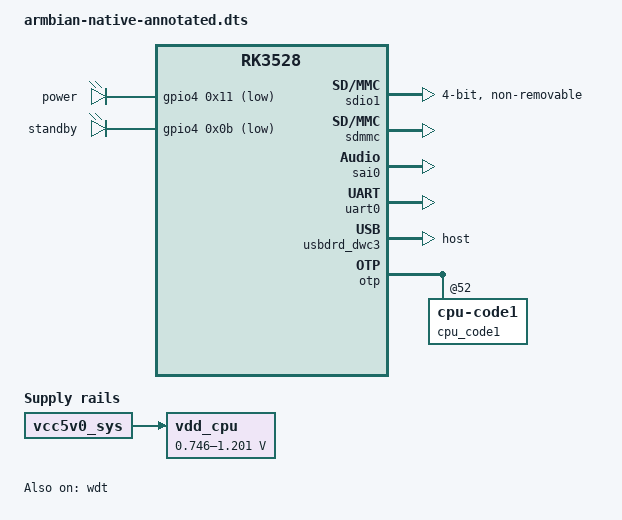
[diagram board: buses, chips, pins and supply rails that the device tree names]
// SPDX-License-Identifier: (GPL-2.0+ OR MIT)
/*
 * H96 Max ZX TV box (PCB silkscreen 3518_ZX_V01) — Rockchip RK3518, RK3528 family.
 *
 * The vendor derived this box from Rockchip's EVB1 DDR4 V10 reference design and its
 * compatible still says so, so this includes that board and overrides what differs.
 *
 * Checked against the box's own factory device tree, carved from its eMMC: this file
 * compiles to a tree content-identical to that blob plus the changes below.
 */
/dts-v1/;
#include "rk3528-evb1-ddr4-v10.dtsi"
#include "rk3528-linux.dtsi"

/* hardware the reference board has and this box does not */
/delete-node/ &chosen;
/delete-node/ &{/cpu0-opp-table/opp-1008000000};
/delete-node/ &{/cpu0-opp-table/opp-1608000000};
/delete-node/ &{/cpu0-opp-table/opp-1800000000};
/delete-node/ &{/cpu0-opp-table/opp-2016000000};
/delete-node/ &{/cpu0-opp-table/opp-408000000};
/delete-node/ &{/cpu0-opp-table/opp-600000000};
/delete-node/ &{/cpu0-opp-table/opp-816000000};
/delete-node/ &{/dmc-opp-table/opp-920000000};
/delete-node/ &gmac1;
/delete-node/ &{/gpu-opp-table/opp-300000000};
/delete-node/ &{/gpu-opp-table/opp-500000000};
/delete-node/ &{/gpu-opp-table/opp-600000000};
/delete-node/ &pcie2x1;
/delete-node/ &vdd_cpu;
/delete-node/ &vdd_gpu;
/delete-node/ &vdd_logic;

&{/} {
	compatible = "h96max-zx,rk3518-tvbox", "rockchip,rk3518-evb1-ddr4-v10", "rockchip,rk3518", "rockchip,rk3528a";
	model = "H96 Max 3518_ZX_V01 (Rockchip RK3518 EVB1 DDR4 V10 Board)";
};

&{/aliases} {
	/delete-property/ ethernet1;
};

&cpu0_opp_table {
	mbist-vmin = <0xc96a8 0xe1d48 0xe1d48>;
	rockchip,pvtm-voltage-sel = <0x00 0x58c 0x00 0x582 0x5a4 0x01 0x5a5 0x5c2 0x02 0x5c3 0x5e5 0x03 0x5e6 0x608 0x04 0x609 0x62b 0x05 0x62c 0x653 0x06 0x654 0x699 0x07 0x69a 0x6d0 0x08 0x6d1 0x707 0x09 0x708 0x270f 0x0a>;
	rockchip,pvtm-freq = <0x159b40>;
	rockchip,pvtm-volt = <0xe7ef0>;
	rockchip,video-1080p-freq = <0x124f80>;
};

&{/cpu0-opp-table/opp-1200000000} {
	/delete-property/ opp-microvolt-L0;
	/delete-property/ opp-microvolt-L1;
	/delete-property/ opp-microvolt-L2;
	/delete-property/ opp-microvolt-L3;
	/delete-property/ opp-microvolt-L4;
	/delete-property/ opp-microvolt-L5;
	/delete-property/ opp-microvolt-L6;
	opp-microvolt = <0xdbba0 0xdbba0 0xf4240>;
};

&{/cpu0-opp-table/opp-1416000000} {
	/delete-property/ opp-microvolt-L10;
	/delete-property/ opp-microvolt-L11;
	/delete-property/ opp-microvolt-L5;
	/delete-property/ opp-microvolt-L6;
	/delete-property/ opp-microvolt-L7;
	/delete-property/ opp-microvolt-L8;
	/delete-property/ opp-microvolt-L9;
	opp-microvolt = <0xdbba0 0xdbba0 0xf4240>;
	opp-microvolt-L1 = <0xe7ef0 0xe7ef0 0xf4240>;
	opp-microvolt-L2 = <0xe4e1c 0xe4e1c 0xf4240>;
	opp-microvolt-L3 = <0xe1d48 0xe1d48 0xf4240>;
	opp-microvolt-L4 = <0xdec74 0xdec74 0xf4240>;
	opp-microvolt-L0 = <0xeafc4 0xeafc4 0xf4240>;
};

&{/cpuinfo} {
	nvmem-cells = <&otp_id &otp_cpu_version &cpu_code &cpu_code1>;
	nvmem-cell-names = "id", "cpu-version", "cpu-code", "cpu-code1";
};

&route_hdmi {
	/delete-property/ logo,kernel;
	logo,mode = "fullscreen";
};

&route_tve {
	/delete-property/ logo,kernel;
	logo,mode = "fullscreen";
};

&dmc {
	center-supply = <&vdd_cpu>;
};

&{/dmc-opp-table/opp-1056000000} {
	/delete-property/ opp-microvolt-L0;
	/delete-property/ opp-microvolt-L1;
	/delete-property/ opp-microvolt-L2;
	/delete-property/ opp-microvolt-L3;
	/delete-property/ opp-microvolt-L4;
	opp-microvolt = <0xdbba0 0xdbba0 0xf4240>;
};

&gmac0 {
	snps,axi-config = <0x70>;
	snps,mtl-rx-config = <0x71>;
	snps,mtl-tx-config = <0x72>;
};

&{/fiq-debugger} {
	status = "disabled";
};

&gpu_bus {
	/delete-property/ bus-supply;
	status = "disabled";
};

&gpu_opp_table {
	rockchip,pvtm-voltage-sel = <0x00 0x329 0x00 0x32a 0x33e 0x01 0x33f 0x352 0x02 0x353 0x370 0x03 0x371 0x37a 0x04 0x37b 0x38e 0x05 0x38f 0x3a2 0x06 0x3a3 0x3b6 0x07 0x3b7 0x3ca 0x08 0x3cb 0x3e3 0x09 0x3e8 0x270f 0x0a>;
	rockchip,pvtm-volt = <0xe7ef0>;
};

&{/gpu-opp-table/opp-700000000} {
	/delete-property/ clock-latency-ns;
	/delete-property/ opp-microvolt-L1;
	/delete-property/ opp-microvolt-L2;
	/delete-property/ opp-microvolt-L3;
	/delete-property/ opp-microvolt-L4;
	/delete-property/ opp-microvolt-L5;
	/delete-property/ opp-microvolt-L6;
	/delete-property/ opp-microvolt-L7;
	/delete-property/ opp-microvolt-L8;
};

&{/gpu-opp-table/opp-800000000} {
	/delete-property/ clock-latency-ns;
	/delete-property/ opp-microvolt-L6;
	/delete-property/ opp-microvolt-L7;
	/delete-property/ opp-microvolt-L8;
	opp-microvolt = <0xdbba0 0xdbba0 0xf4240>;
	opp-microvolt-L1 = <0xe7ef0 0xe7ef0 0xf4240>;
	opp-microvolt-L2 = <0xe4e1c 0xe4e1c 0xf4240>;
	opp-microvolt-L3 = <0xe1d48 0xe1d48 0xf4240>;
	opp-microvolt-L4 = <0xdec74 0xdec74 0xf4240>;
	opp-microvolt-L5 = <0xdbba0 0xdbba0 0xf4240>;
	opp-microvolt-L0 = <0xeafc4 0xeafc4 0xf4240>;
};

&gpu {
	mali-supply = <&vdd_cpu>;
};

&hdmi {
	rockchip,cts-manual;
};

&i2c6 {
	status = "disabled";
};

&sdhci {
	/delete-property/ mmc-hs400-1_8v;
	/delete-property/ mmc-hs400-enhanced-strobe;
	max-frequency = <0x5f5e100>;
	mmc-hs200-1_8v;
};

&sdio0 {
	/delete-property/ bus-width;
	/delete-property/ cap-sd-highspeed;
	/delete-property/ cap-sdio-irq;
	/delete-property/ disable-wp;
	/delete-property/ keep-power-in-suspend;
	/delete-property/ mmc-pwrseq;
	/delete-property/ no-mmc;
	/delete-property/ no-sd;
	/delete-property/ non-removable;
	/delete-property/ pinctrl-0;
	/delete-property/ pinctrl-names;
	/delete-property/ sd-uhs-sdr104;
	/delete-property/ supports-sdio;
	max-frequency = <0x8f0d180>;
	status = "disabled";
};

&sdio1 {
	/delete-property/ rockchip,use-v2-tuning;
	max-frequency = <0xbebc200>;
	status = "okay";
	no-sd;
	no-mmc;
	supports-sdio;
	bus-width = <0x04>;
	disable-wp;
	cap-sd-highspeed;
	cap-sdio-irq;
	keep-power-in-suspend;
	non-removable;
	mmc-pwrseq = <&sdio_pwrseq>;
	pinctrl-names = "default";
	pinctrl-0 = <&sdio1_bus4 &sdio1_cmd &sdio1_clk>;
	sd-uhs-sdr104;
};

&sdmmc {
	/delete-property/ sd-uhs-sdr104;
	/delete-property/ sd-uhs-sdr12;
	/delete-property/ sd-uhs-sdr25;
	/delete-property/ sd-uhs-sdr50;
	status = "okay";
};

&mpp_srv {
	rockchip,iommu-shared-mask = <0x420a>;
};

&wifi_enable_h {
	rockchip,pins = <0x03 0x0a 0x00 &pcfg_pull_none>;
};

&pwm3 {
	remote_support_psci = <0x01>;
};

&{/pwm@ffa90030/ir_key4} {
	rockchip,usercode = <0x7f80>;
	rockchip,key_table = <0xec 0xe8 0xd8 0x9e 0xc7 0x67 0xbf 0x6c 0xc8 0x69 0xc6 0x6a 0x8c 0x66 0x78 0x73 0x76 0x72 0x7e 0x74 0x7c 0x8b 0xb7 0x184>;
};

&{/pwm@ffa90030/ir_key5} {
	rockchip,usercode = <0xfeaa>;
	rockchip,key_table = <0xec 0xe8 0xe6 0x9e 0xe9 0x67 0xe5 0x6c 0xae 0x69 0xaf 0x6a 0xee 0x66 0xe7 0x73 0xef 0x72 0xbf 0x74 0xbe 0x71 0xb3 0x8b 0xff 0x184 0xb1 0x18e 0xf2 0x18f 0xf3 0x04 0xb5 0x05 0xf6 0x06 0xf7 0x07 0xb9 0x190 0xfa 0x191 0xfb 0x0a 0xfe 0x0b 0xbd 0x0e 0xbc 0xb7 0xf0 0xba 0xb4 0x19c 0xb8 0x1e 0xb0 0x197>;
};

&{/pwm@ffa90030/ir_key6} {
	rockchip,usercode = <0xfb04>;
	rockchip,key_table = <0xf7 0x74 0xd0 0x184 0xb5 0x8b 0x5b 0xb8 0x4d 0xb7 0xba 0x67 0xb9 0x6c 0xb8 0x69 0xb7 0x6a 0xbb 0xe8 0xe5 0x9e 0xe4 0x0e 0xd2 0x66 0xfd 0x73 0xfc 0x72 0xf6 0x71 0xff 0x192 0xfe 0x193 0x04 0x40 0x14 0x41 0x4c 0x42 0x4b 0x43>;
};

&{/pwm@ffa90030/ir_key7} {
	rockchip,usercode = <0xfe01>;
	rockchip,key_table = <0xec 0xe8 0xe6 0x9e 0xe9 0x67 0xe5 0x6c 0xae 0x69 0xaf 0x6a 0xee 0x66 0xe7 0x73 0xef 0x72 0xbf 0x74 0xbe 0x71 0xb3 0x8b 0xff 0x184 0xb1 0x02 0xf2 0x03 0xf3 0x04 0xb5 0x05 0xf6 0x06 0xf7 0x07 0xb9 0x08 0xfa 0x09 0xfb 0x0a 0xfe 0x0b 0xbd 0x0e 0xbc 0xb7 0xf0 0xba 0xb4 0x19c 0xb8 0x1e 0xb0 0x197>;
};

&sai3 {
	assigned-clocks = <&cru 0x184>;
	assigned-clock-rates = <0x5dc000>;
	rockchip,always-on;
};

&sai0 {
	pinctrl-0 = <&i2s0m0_lrck &i2s0m0_sclk &i2s0m0_sdi &i2s0m0_sdo>;
	status = "okay";
};

&sai1 {
	status = "disabled";
};

&sdio_pwrseq {
	reset-gpios = <&gpio3 0x0a 0x01>;
};

&uart0 {
	pinctrl-names = "default";
	pinctrl-0 = <&uart0m0_xfer>;
	status = "okay";
};

&usbdrd_dwc3 {
	dr_mode = "host";
};

&vcc5v0_otg {
	gpio = <&gpio4 0x0c 0x00>;
};

&vop {
	esmart_lb_mode = [03];
	support-multi-area;
};

&wdt {
	status = "okay";
};

&wireless_bluetooth {
	BT,wake_host_irq = <0xa7 0x12 0x00>;
	status = "disabled";
};

&wireless_wlan {
	WIFI,host_wake_irq = <0xa7 0x07 0x00>;
	status = "disabled";
};

&dmc_opp_table {
	opp-324000000 {
		opp-hz = <0x00 0x134fd900>;
		opp-microvolt = <0xdbba0 0xdbba0 0xf4240>;
	};
};

&dmc_opp_table {
	opp-666000000 {
		opp-hz = <0x00 0x27b25a80>;
		opp-microvolt = <0xdbba0 0xdbba0 0xf4240>;
	};
};

&dmc_opp_table {
	opp-780000000 {
		opp-hz = <0x00 0x2e7ddb00>;
		opp-microvolt = <0xdbba0 0xdbba0 0xf4240>;
	};
};

&{/} {
	leds: gpio-leds {
		compatible = "gpio-leds";
		power {
			gpios = <&gpio4 0x11 0x01>;
			linux,default-trigger = "none";
			default-state = "on";
			retain-state-suspended;
			retain-state-shutdown;
		};
		standby {
			gpios = <&gpio4 0x0b 0x01>;
			linux,default-trigger = "none";
			default-state = "off";
			retain-state-suspended;
			retain-state-shutdown;
		};
	};
};

&otp {
	cpu_code1: cpu-code1@52 {
		reg = <0x52 0x02>;
	};
};

&reserved_memory {
	cma {
		compatible = "shared-dma-pool";
		reusable;
		size = <0x00 0x800000>;
		linux,cma-default;
	};
};

&{/} {
	seekwcn_boot: seekwcn_boot {
		compatible = "seekwave,sv6160lite";
		dma_type = <0x01>;
		seekwave_nv_name = "SEEKWAVE_NV_SWT6652.bin";
		status = "okay";
		gpio_host_wake = <0xa6 0x0b 0x01>;
		gpio_chip_wake = <0xa6 0x0c 0x00>;
		gpio_chip_en = <0xa6 0x0a 0x00>;
	};
};

&{/} {
	vdd_cpu: vdd_logic: vdd_gpu: vdd-cpu {
		compatible = "pwm-regulator";
		pwms = <&pwm1 0x00 0x1388 0x01>;
		regulator-name = "vdd_cpu";
		regulator-min-microvolt = <0xb6210>;
		regulator-max-microvolt = <0x125368>;
		regulator-init-microvolt = <0xe8aa8>;
		regulator-always-on;
		regulator-boot-on;
		regulator-settling-time-up-us = <0xfa>;
		pwm-supply = <&vcc5v0_sys>;
		status = "okay";
	};
};
